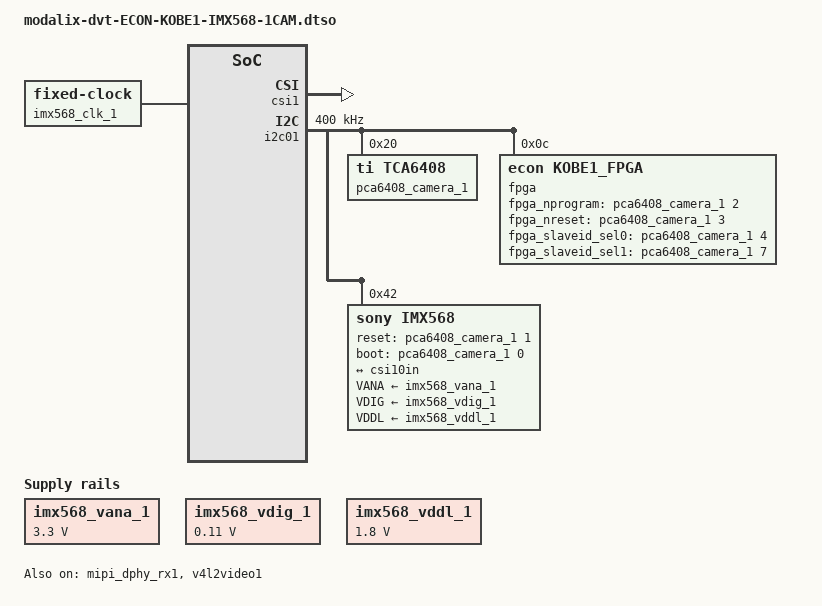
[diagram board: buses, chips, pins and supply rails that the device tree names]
// SPDX-License-Identifier: (GPL-2.0+ OR MIT)
/*
 * Copyright (c) 2024 SiMa ai
 */

/dts-v1/;
/plugin/;

&{/} {
    imx568_vana_1: csi1_fixedregulator@0 {
        compatible = "regulator-fixed";
        regulator-name = "imx568_vana_1";
        regulator-min-microvolt = <3300000>;
        regulator-max-microvolt = <3300000>;
        enable-active-high;
        startup-delay-us = <300000>;
        regulator-always-on;
    };
    imx568_vdig_1: csi1_fixedregulator@1 {
        compatible = "regulator-fixed";
        regulator-name = "imx568_vdig_1";
        regulator-min-microvolt = <110000>;
        regulator-max-microvolt = <110000>;
        regulator-always-on;
    };
    imx568_vddl_1: csi1_fixedregulator@2 {
        compatible = "regulator-fixed";
        regulator-name = "imx568_vddl_1";
        regulator-min-microvolt = <1800000>;
        regulator-max-microvolt = <1800000>;
        regulator-always-on;
    };
    imx568_clk_1: csi1_camera-clk {
        compatible = "fixed-clock";
        #clock-cells = <0>;
        clock-frequency = <37125000>;
    };
};

&csi1 {
    status = "okay";
};

&axi_vdma1 {
    status = "okay";
};

&mipi_dphy_rx1 {
    status = "okay";
};

&v4l2video1 {
    status = "okay";
};

&v4l2vdma1 {
    status = "okay";
};

&csi10in {
    clock-lanes = <0>;
    data-lanes = <1 2>;
    link-frequencies = /bits/ 64 <594000000>;
    remote-endpoint = <&cam10out>;
    clock-continuous;
};

&i2c01 {
    status = "okay";
    clock-frequency = <400000>;
    #address-cells = <1>;
    #size-cells = <0>;

   pca6408_camera_1: pca6408@20 {
		compatible = "ti,tca6408";
		gpio-controller;
		#gpio-cells = <2>;
		reg = <0x20>;
		status = "okay";
	};

    fpga: fpga@c {
		compatible = "econ,kobe1_fpga";
		reg = <0x0c>;
		status = "okay";
		fpga_nprogram-gpios = <&pca6408_camera_1 2 0>;
        fpga_nreset-gpios = <&pca6408_camera_1 3 0>;
        fpga_slaveid_sel0-gpios = <&pca6408_camera_1 4 0>;
        fpga_slaveid_sel1-gpios = <&pca6408_camera_1 7 0>;
		mipi_filter_dt1 = <0x92>;
		mipi_filter_dt2 = <0x93>;
		mipi_filter_dt3 = <0xb7>;
		mipi_filter_dt4 = <0x7f>;
		mipi_speed = <1188>;
		mipi_tx_clockmode = <0>; // Discontinuous
		mipi_rx_clockmode = <0>; // Discontinuous
	};

    imx568: imx568@42 {
        compatible = "sony,imx568";
        reg = <0x42>;

        clocks = <&imx568_clk_1>;
        clock-names = "xclk";

        VANA-supply = <&imx568_vana_1>;
        VDIG-supply = <&imx568_vdig_1>;
        VDDL-supply = <&imx568_vddl_1>;
        reset-gpios = <&pca6408_camera_1 1 0>;
        boot-gpios = <&pca6408_camera_1 0 0>;
        camera_mipi_lanes = <2>;
        cam_fw_name = "imx568_cam_fw.bin";

        port@1 {
            cam10out: endpoint@0 {
                clock-lanes = <0>;
                data-lanes = <1 2>;
                link-frequencies = /bits/ 64 <594000000>;
                remote-endpoint = <&csi10in>;
                clock-continuous;
            };
        };
    };
};
